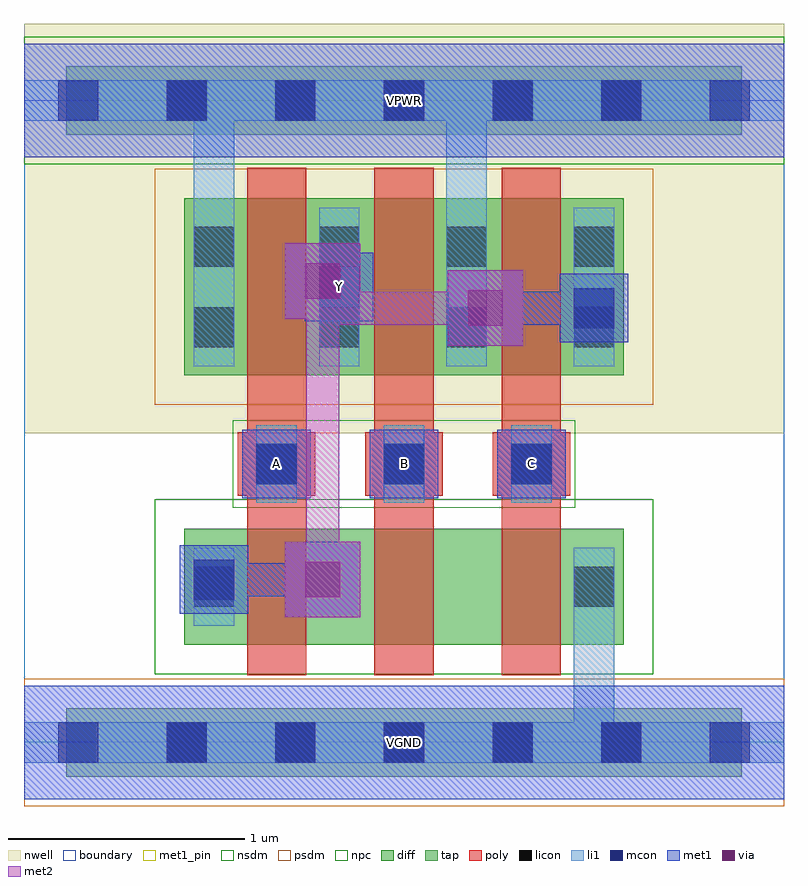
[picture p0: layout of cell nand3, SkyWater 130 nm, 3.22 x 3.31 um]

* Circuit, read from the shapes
.subckt nand3 A B C VGND VPWR Y
XM1 n1 A Y VGND sky130_fd_pr__nfet_01v8 w=0.49 l=0.25
XM2 n2 B n1 VGND sky130_fd_pr__nfet_01v8 w=0.49 l=0.25
XM3 VGND C n2 VGND sky130_fd_pr__nfet_01v8 w=0.49 l=0.25
XM4 Y A VPWR VPWR sky130_fd_pr__pfet_01v8 w=0.75 l=0.25
XM5 VPWR B Y VPWR sky130_fd_pr__pfet_01v8 w=0.75 l=0.25
XM6 Y C VPWR VPWR sky130_fd_pr__pfet_01v8 w=0.75 l=0.25
.ends

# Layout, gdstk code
import gdstk
lib = gdstk.Library(unit=1e-6, precision=1e-09)
def R(c, l, rs):  # rectangles x0, y0, x1, y1
    for r in rs: c.add(gdstk.rectangle(r[:2], r[2:], *l))
def A(c, l, x, y, w, h, nx, ny, dx, dy):  # array of equal rectangles
    R(c, l, [(x+i*dx, y+j*dy, x+i*dx+w, y+j*dy+h) for i in range(nx) for j in range(ny)])
nwell = (64, 20)
diff = (65, 20)
tap = (65, 44)
poly = (66, 20)
licon = (66, 44)
li1 = (67, 20)
mcon = (67, 44)
met1_pin = (68, 16)
met1 = (68, 20)
via = (68, 44)
met2 = (69, 20)
nsdm = (93, 44)
psdm = (94, 20)
npc = (95, 20)
boundary = (235, 4)

nand3 = lib.new_cell('nand3')
R(nand3, nwell, [(0,1.31,3.22,3.045)])
R(nand3, diff, [(0.68,0.415,2.54,0.905), (0.68,1.555,2.54,2.305)])
R(nand3, tap, [(0.18,-0.145,3.04,0.145), (0.18,2.575,3.04,2.865)])
A(nand3, poly, 0.945, 0.285, 0.25, 2.15, 3, 1, 0.54, 0)
A(nand3, poly, 0.905, 1.045, 0.33, 0.27, 3, 1, 0.54, 0)
A(nand3, licon, 0.605, -0.085, 0.17, 0.17, 5, 2, 0.46, 2.72)
A(nand3, licon, 0.985, 1.095, 0.17, 0.17, 3, 1, 0.54, 0)
A(nand3, licon, 1.25, 1.675, 0.17, 0.17, 3, 2, 0.54, 0.34)
R(nand3, licon, [(0.72,0.575,0.89,0.745), (2.33,0.575,2.5,0.745), (0.72,1.675,0.89,1.845), (0.72,2.015,0.89,2.185)])
A(nand3, li1, 0.985, 1.015, 0.17, 0.33, 3, 1, 0.54, 0)
A(nand3, li1, 1.25, 1.595, 0.17, 0.67, 3, 1, 0.54, 0)
R(nand3, li1, [(0,-0.085,3.22,0.085), (2.33,-0.085,2.5,0.825), (0.72,0.495,0.89,0.825), (2.33,0.495,2.5,0.825), (0.72,1.595,0.89,2.265), (0.72,1.595,0.89,2.805), (1.79,1.595,1.96,2.805), (0,2.635,3.22,2.805)])
A(nand3, mcon, 0.145, -0.085, 0.17, 0.17, 7, 2, 0.46, 2.72)
A(nand3, mcon, 0.985, 1.095, 0.17, 0.17, 3, 1, 0.54, 0)
R(nand3, mcon, [(0.72,0.605,0.89,0.775), (2.33,1.755,2.5,1.925), (1.25,1.845,1.42,2.015)])
A(nand3, met1_pin, 0.925, 1.035, 0.29, 0.29, 3, 1, 0.54, 0)
R(nand3, met1_pin, [(0,-0.24,3.22,0.24), (1.19,1.785,1.48,2.075), (0,2.48,3.22,2.96)])
A(nand3, met1, 0.925, 1.035, 0.29, 0.29, 3, 1, 0.54, 0)
R(nand3, met1, [(0,-0.24,3.22,0.24), (1.105,0.53,1.425,0.85), (0.66,0.545,0.95,0.835), (0.735,0.62,1.335,0.76), (1.795,1.68,2.115,2), (2.27,1.695,2.56,1.985), (1.885,1.77,2.485,1.91), (1.19,1.785,1.48,2.075), (1.105,1.795,1.425,2.115), (1.195,1.885,1.335,2.025), (0,2.48,3.22,2.96)])
R(nand3, via, [(1.19,0.615,1.34,0.765), (1.88,1.765,2.03,1.915), (1.19,1.88,1.34,2.03)])
R(nand3, met2, [(1.105,0.53,1.425,0.85), (1.195,0.62,1.335,2.025), (1.795,1.68,2.115,2), (1.195,1.77,2.025,1.91), (1.105,1.795,1.425,2.115)])
R(nand3, nsdm, [(0.555,0.29,2.665,1.03), (0,2.45,3.22,2.99)])
R(nand3, psdm, [(0,-0.27,3.22,0.27), (0.555,1.43,2.665,2.43)])
R(nand3, npc, [(0.885,0.995,2.335,1.365)])
R(nand3, boundary, [(0,0,3.22,2.72)])
nand3.add(gdstk.Label('A', (1.07,1.18), layer=68, texttype=5))
nand3.add(gdstk.Label('B', (1.61,1.18), layer=68, texttype=5))
nand3.add(gdstk.Label('C', (2.15,1.18), layer=68, texttype=5))
nand3.add(gdstk.Label('Y', (1.335,1.93), layer=68, texttype=5))
nand3.add(gdstk.Label('VPWR', (1.61,2.72), layer=68, texttype=5))
nand3.add(gdstk.Label('VGND', (1.61,0), layer=68, texttype=5))
nand3.add(gdstk.Label('A', (1.07,1.18), layer=68, texttype=16))
nand3.add(gdstk.Label('B', (1.61,1.18), layer=68, texttype=16))
nand3.add(gdstk.Label('C', (2.15,1.18), layer=68, texttype=16))
nand3.add(gdstk.Label('Y', (1.335,1.93), layer=68, texttype=16))
nand3.add(gdstk.Label('VPWR', (1.61,2.72), layer=68, texttype=16))
nand3.add(gdstk.Label('VGND', (1.61,0), layer=68, texttype=16))

lib.write_gds('nand3.gds')
